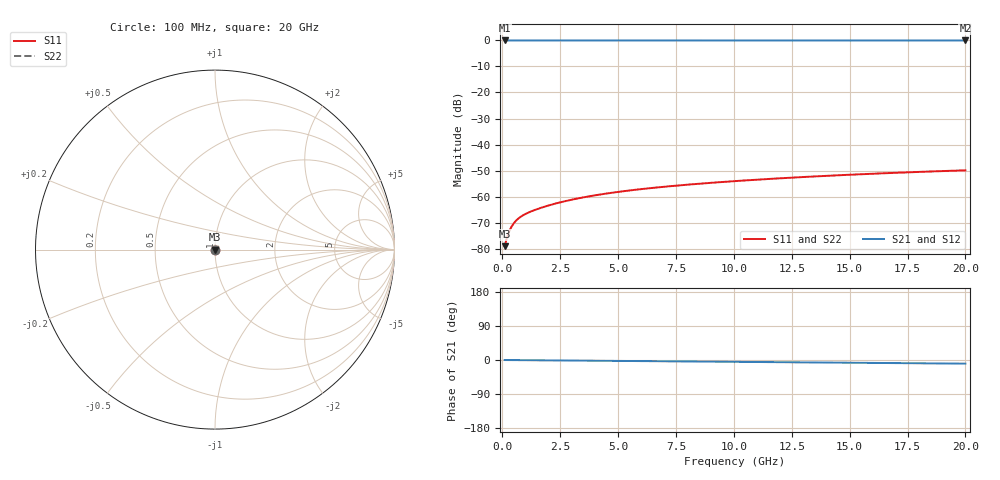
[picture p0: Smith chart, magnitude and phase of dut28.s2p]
! Touchstone file exported from HFSS 2026.1.0
!  File:  C:/ffzhzh/LocalFiles/Ansys_Project_Files/temp_train_TSV_28_1782958310_45748.aedt
!  Generated:  10:13:25 AM Jul  2, 2026
!  Design:  TSV
!  Project:  temp_train_TSV_28_1782958310_45748
! Variables:
!  h_bsmrdl = 2um
!  h_ox = 20um
!  h_rdl = 5um
!  h_sub = 96.19um
!  h_tmrdl = 5um
!  h_tsv = 96.19um
!  h_via = 3um
!  l_bsmrdl = 300um
!  l_sub = 427.14um
!  l_tmrdl = 200um
!  m_sub = 200um
!  pitch = 55.41um
!  r_tsv = 13.57um
!  s_tmrdl = 10um
!  w_bsmrdl = 18um
!  w_sub = 500um
!  w_tmrdl = 12um
!  x_tsv_center1 = 206um
!  x_tsv_center2 = 524um
!  x_tsv_center3 = 736um
!  x_tsv_center4 = 1054um
!  x_tsv_center5 = 1266um
!  x_tsv_center6 = 1584um
# GHz S MA R 50.000000
! Terminal data exported
! Port[1] = TSV1_1_T1
! Port[2] = TSV1_1_T2
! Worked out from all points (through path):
!   200 points, 100 MHz to 20 GHz, reference 50 ohm
!   highest |S21| = 0.00 dB at 100 MHz (marker M1); lowest = 0.0 dB at 20 GHz (marker M2)
!   group delay of S21, straight-line fit = 1.33 ps
!   lowest |S11| = -79.1 dB at 100 MHz (marker M3), VSWR 1.00, Z = 50 + j0.00626 ohm
!   |S11| at or under -10 dB: start of sweep to end of sweep
!   |S22| runs from -79.1 to -49.9 dB; largest |S21 - S12| = 2.1e-15
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0.1  0.0001114 34.2  0.9999 -0.1  0.9999 -0.1  0.0001114 34.2
! Gamma 0 0 0 0
! Port Impedance 50 0 50 0
0.2  0.0001621 48.1  0.9999 -0.1  0.9999 -0.1  0.0001621 48.1
0.3  0.0002156 52.5  0.9999 -0.2  0.9999 -0.2  0.0002156 52.5
0.4  0.0002651 53.5  0.9998 -0.2  0.9998 -0.2  0.0002651 53.5
0.5  0.0003088 53.4  0.9998 -0.3  0.9998 -0.3  0.0003088 53.4
0.6  0.0003471 53.0  0.9998 -0.3  0.9998 -0.3  0.000347 53.0
0.7  0.0003807 52.6  0.9998 -0.3  0.9998 -0.3  0.0003806 52.6
0.9  0.0004378 52.0  0.9997 -0.4  0.9997 -0.4  0.0004377 52.0
1.1  0.0004865 52.1  0.9997 -0.5  0.9997 -0.5  0.0004865 52.1
1.3  0.0005309 52.4  0.9997 -0.6  0.9997 -0.6  0.0005309 52.4
1.9  0.0006546 54.3  0.9996 -0.9  0.9996 -0.9  0.0006546 54.3
2.7  0.0008131 56.4  0.9996 -1.3  0.9996 -1.3  0.0008131 56.4
3.5  0.0009654 57.7  0.9995 -1.7  0.9995 -1.7  0.0009654 57.7
4.2  0.001092 58.4  0.9995 -2.0  0.9995 -2.0  0.001092 58.3
5  0.001229 58.8  0.9994 -2.4  0.9994 -2.4  0.001229 58.8
5.9  0.001376 59.2  0.9994 -2.8  0.9994 -2.8  0.001376 59.2
6.8  0.001515 59.4  0.9993 -3.3  0.9993 -3.3  0.001515 59.4
8.3  0.001737 59.8  0.9992 -4.0  0.9992 -4.0  0.001737 59.7
10.1  0.00199 60.0  0.9992 -4.9  0.9992 -4.9  0.00199 60.0
13.4  0.002427 59.9  0.999 -6.4  0.999 -6.4  0.002428 59.9
16.7  0.002831 59.4  0.9989 -8.0  0.9989 -8.0  0.002832 59.3
20  0.003197 58.5  0.9988 -9.6  0.9988 -9.6  0.003198 58.5
